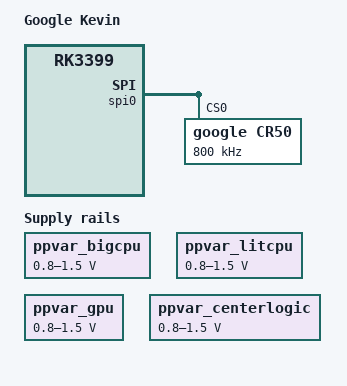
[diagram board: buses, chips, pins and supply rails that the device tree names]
/*
 * Google Gru-Kevin Rev 3 board device tree source
 *
 * Copyright 2016 Google, Inc
 *
 * This file is dual-licensed: you can use it either under the terms
 * of the GPL or the X11 license, at your option. Note that this dual
 * licensing only applies to this file, and not this project as a
 * whole.
 *
 *  a) This file is free software; you can redistribute it and/or
 *     modify it under the terms of the GNU General Public License as
 *     published by the Free Software Foundation; either version 2 of the
 *     License, or (at your option) any later version.
 *
 *     This file is distributed in the hope that it will be useful,
 *     but WITHOUT ANY WARRANTY; without even the implied warranty of
 *     MERCHANTABILITY or FITNESS FOR A PARTICULAR PURPOSE.  See the
 *     GNU General Public License for more details.
 *
 *  Or, alternatively,
 *
 *  b) Permission is hereby granted, free of charge, to any person
 *     obtaining a copy of this software and associated documentation
 *     files (the "Software"), to deal in the Software without
 *     restriction, including without limitation the rights to use,
 *     copy, modify, merge, publish, distribute, sublicense, and/or
 *     sell copies of the Software, and to permit persons to whom the
 *     Software is furnished to do so, subject to the following
 *     conditions:
 *
 *     The above copyright notice and this permission notice shall be
 *     included in all copies or substantial portions of the Software.
 *
 *     THE SOFTWARE IS PROVIDED "AS IS", WITHOUT WARRANTY OF ANY KIND,
 *     EXPRESS OR IMPLIED, INCLUDING BUT NOT LIMITED TO THE WARRANTIES
 *     OF MERCHANTABILITY, FITNESS FOR A PARTICULAR PURPOSE AND
 *     NONINFRINGEMENT. IN NO EVENT SHALL THE AUTHORS OR COPYRIGHT
 *     HOLDERS BE LIABLE FOR ANY CLAIM, DAMAGES OR OTHER LIABILITY,
 *     WHETHER IN AN ACTION OF CONTRACT, TORT OR OTHERWISE, ARISING
 *     FROM, OUT OF OR IN CONNECTION WITH THE SOFTWARE OR THE USE OR
 *     OTHER DEALINGS IN THE SOFTWARE.
 */

/dts-v1/;
#include "rk3399-gru-kevin.dtsi"
#include "rk3399-early-opp.dtsi"

/ {
	model = "Google Kevin";
	compatible = "google,kevin-rev3", "google,kevin",
		     "google,gru", "rockchip,rk3399";
};

&cpu_b0 {
	dynamic-power-coefficient = <1068>;
};

&cpu_l0 {
	dynamic-power-coefficient = <121>;
};

&gpu_power_model {
	dynamic-power = <1780>;
};

&soc_thermal {
	sustainable-power = <2600>; /* milliwatts */

	cooling-maps {
		map0 {
			trip = <&target>;
			cooling-device =
				<&cpu_l0 THERMAL_NO_LIMIT THERMAL_NO_LIMIT>;
			contribution = <2048>;
		};
		map1 {
			trip = <&target>;
			cooling-device =
				<&cpu_b0 THERMAL_NO_LIMIT THERMAL_NO_LIMIT>;
			contribution = <1024>;
		};
		map2 {
			trip = <&target>;
			cooling-device =
				<&gpu THERMAL_NO_LIMIT THERMAL_NO_LIMIT>;
			contribution = <2048>;
		};
	};
};

/* Adjust DVFS rails back to wider range */

&ppvar_bigcpu {
	regulator-min-microvolt = <800000>;
	regulator-max-microvolt = <1500000>;
};

&ppvar_litcpu {
	regulator-min-microvolt = <800000>;
	regulator-max-microvolt = <1500000>;
};

&ppvar_gpu {
	regulator-min-microvolt = <800000>;
	regulator-max-microvolt = <1500000>;
};

&ppvar_centerlogic {
	regulator-min-microvolt = <800000>;
	regulator-max-microvolt = <1500000>;
};

/*
 * HACK for -rev3 to bump up voltage
 *
 * There's some extra voltage drop on early revs of kevin due to board layout
 * problems.  On -rev3 we're almost there, so only 50 mV (it was 200 mV on
 * earlier revs)
 *
 * NOTE: The 'regulator-microvolt-offset' is not a terribly well-tested and
 * has some quirks (like I think it doesn't necessarily validate constraints
 * properly?), but seems to work and seems better than hardcoding every
 * operating point everywhere.
 */
&ppvar_bigcpu {
	regulator-microvolt-offset = <50000>;
};
&ppvar_centerlogic {
	regulator-microvolt-offset = <50000>;
};
&ppvar_gpu {
	regulator-microvolt-offset = <50000>;
};
&ppvar_litcpu {
	regulator-microvolt-offset = <50000>;
};

/* No i2c-based TPM */
&ap_i2c_tpm {
	status = "disabled";
	/delete-node/ tpm@20;
};

&spi0 {
	status = "okay";

	cr50@0 {
		compatible = "google,cr50";
		reg = <0>;
		spi-max-frequency = <800000>; // TODO: review later
	};
};
